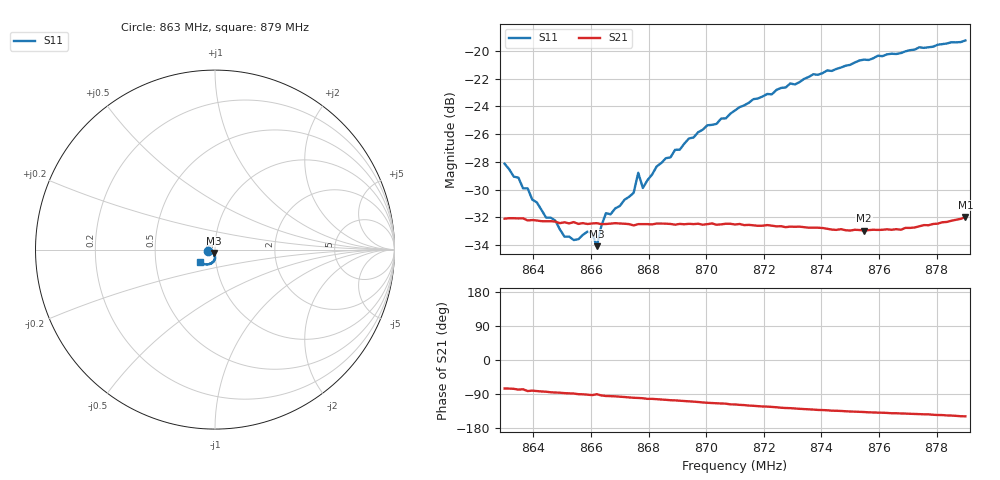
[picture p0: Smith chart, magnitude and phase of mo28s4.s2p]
# HZ S RI R 50
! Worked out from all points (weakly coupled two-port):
!   101 points, 863 MHz to 879 MHz, reference 50 ohm
!   highest |S21| = -31.98 dB at 879 MHz (marker M1); lowest = -33.0 dB at 875.48 MHz (marker M2)
!   lowest |S11| = -34.1 dB at 866.2 MHz (marker M3), VSWR 1.04, Z = 49.4 - j1.87 ohm
!   |S11| at or under -10 dB: start of sweep to end of sweep
!   S12 and S22 are empty: the file has one direction only
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8.63e8  -0.0378 -0.0104  0.00634 -0.024  0 0  0 0
8.6348e8  -0.0329 -0.0118  0.00511 -0.0243  0 0  0 0
8.6364e8  -0.0295 -0.0122  0.00552 -0.0243  0 0  0 0
8.638e8  -0.0295 -0.0122  0.00342 -0.0242  0 0  0 0
8.6444e8  -0.0222 -0.0116  0.00267 -0.0241  0 0  0 0
8.6476e8  -0.0201 -0.0138  0.00178 -0.0242  0 0  0 0
8.6508e8  -0.0157 -0.0146  0.00109 -0.0241  0 0  0 0
8.6572e8  -0.0117 -0.0183  -0.000226 -0.0239  0 0  0 0
8.6604e8  -0.00769 -0.0206  -0.00111 -0.0238  0 0  0 0
8.662e8  -0.00578 -0.0189  -0.000116 -0.0239  0 0  0 0
8.6652e8  -0.0059 -0.0253  -0.00205 -0.0237  0 0  0 0
8.6668e8  -0.00519 -0.0252  -0.00222 -0.0237  0 0  0 0
8.6748e8  -0.00152 -0.0307  -0.00394 -0.0231  0 0  0 0
8.6764e8  -0.00489 -0.036  -0.00419 -0.0234  0 0  0 0
8.678e8  -0.000673 -0.032  -0.00448 -0.0233  0 0  0 0
8.6844e8  0.000281 -0.0394  -0.0059 -0.0231  0 0  0 0
8.7004e8  -0.00155 -0.0539  -0.00922 -0.0219  0 0  0 0
8.71e8  -0.00462 -0.0608  -0.0108 -0.021  0 0  0 0
8.7372e8  -0.0229 -0.0791  -0.0151 -0.0174  0 0  0 0
8.7548e8  -0.0415 -0.0832  -0.0165 -0.0153  0 0  0 0
8.7644e8  -0.0531 -0.0819  -0.0175 -0.0144  0 0  0 0
8.79e8  -0.082 -0.0718  -0.0215 -0.0131  0 0  0 0
